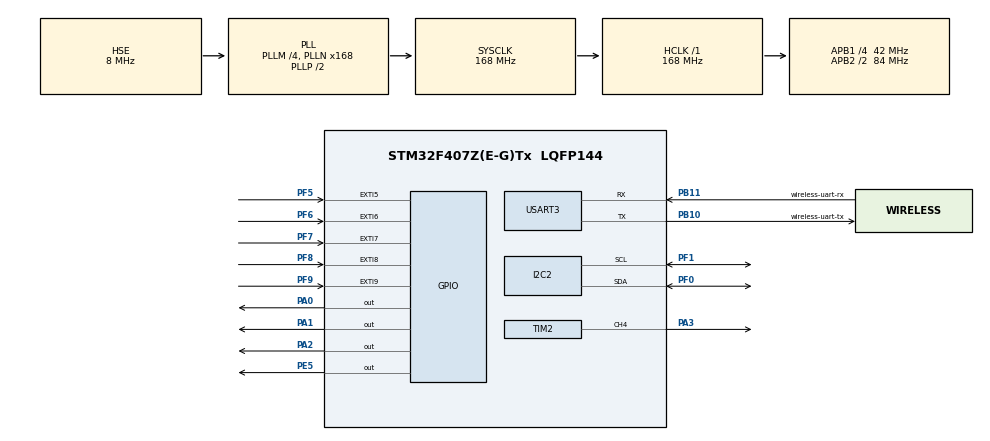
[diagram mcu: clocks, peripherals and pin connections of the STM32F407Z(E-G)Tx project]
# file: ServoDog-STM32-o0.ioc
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I2C2.I2C_Mode=I2C_Fast
Mcu.Family=STM32F4
Mcu.Name=STM32F407Z(E-G)Tx
Mcu.Package=LQFP144
NVIC.EXTI9_5_IRQn=true\:5\:0\:true\:false\:true\:true\:true\:true
NVIC.PriorityGroup=NVIC_PRIORITYGROUP_4
PA0-WKUP.Signal=GPIO_Output
PA1.Signal=GPIO_Output
PA13.Mode=Serial_Wire
PA13.Signal=SYS_JTMS-SWDIO
PA14.Mode=Serial_Wire
PA14.Signal=SYS_JTCK-SWCLK
PA2.Signal=GPIO_Output
PA3.Signal=S_TIM2_CH4
PB10.GPIO_Label=wireless-uart-tx
PB10.Mode=Asynchronous
PB10.Signal=USART3_TX
PB11.GPIO_Label=wireless-uart-rx
PB11.Mode=Asynchronous
PB11.Signal=USART3_RX
PE5.Signal=GPIO_Output
PF0.GPIO_Pu=GPIO_PULLUP
PF0.Mode=I2C
PF0.Signal=I2C2_SDA
PF1.GPIO_Pu=GPIO_PULLUP
PF1.Mode=I2C
PF1.Signal=I2C2_SCL
PF5.GPIO_ModeDefaultEXTI=GPIO_MODE_IT_FALLING
PF5.GPIO_PuPd=GPIO_PULLUP
PF5.Signal=GPXTI5
PF6.GPIO_ModeDefaultEXTI=GPIO_MODE_IT_FALLING
PF6.GPIO_PuPd=GPIO_PULLUP
PF6.Signal=GPXTI6
PF7.GPIO_ModeDefaultEXTI=GPIO_MODE_IT_FALLING
PF7.GPIO_PuPd=GPIO_PULLUP
PF7.Signal=GPXTI7
PF8.GPIO_ModeDefaultEXTI=GPIO_MODE_IT_FALLING
PF8.GPIO_PuPd=GPIO_PULLUP
PF8.Signal=GPXTI8
PF9.GPIO_ModeDefaultEXTI=GPIO_MODE_IT_FALLING
PF9.GPIO_PuPd=GPIO_PULLUP
PF9.Signal=GPXTI9
PH0-OSC_IN.Mode=HSE-External-Oscillator
PH0-OSC_IN.Signal=RCC_OSC_IN
PH1-OSC_OUT.Mode=HSE-External-Oscillator
PH1-OSC_OUT.Signal=RCC_OSC_OUT
ProjectManager.HeapSize=0x1000
ProjectManager.StackSize=0x1000
ProjectManager.TargetToolchain=CMake
RCC.48MHZClocksFreq_Value=84000000
RCC.AHBFreq_Value=168000000
RCC.APB1CLKDivider=RCC_HCLK_DIV4
RCC.APB1Freq_Value=42000000
RCC.APB1TimFreq_Value=84000000
RCC.APB2CLKDivider=RCC_HCLK_DIV2
RCC.APB2Freq_Value=84000000
RCC.APB2TimFreq_Value=168000000
RCC.CortexFreq_Value=168000000
RCC.HCLKFreq_Value=168000000
RCC.HSE_VALUE=8000000
RCC.HSI_VALUE=16000000
RCC.LSE_VALUE=32768
RCC.PLLM=4
RCC.PLLN=168
RCC.PLLSourceVirtual=RCC_PLLSOURCE_HSE
RCC.SYSCLKFreq_VALUE=168000000
RCC.SYSCLKSource=RCC_SYSCLKSOURCE_PLLCLK
RCC.VCOOutputFreq_Value=336000000
SH.S_TIM2_CH4.0=TIM2_CH4,PWM Generation4 CH4
TIM2.Channel-PWM\ Generation4\ CH4=TIM_CHANNEL_4
TIM2.Prescaler=16800
USART3.VirtualMode=VM_ASYNC
VP_TIM2_VS_ClockSourceINT.Mode=Internal
board=custom

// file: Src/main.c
/* USER CODE BEGIN Header */
/**
  ******************************************************************************
  * @file           : main.c
  * @brief          : Main program body
  ******************************************************************************
  * @attention
  *
  * Copyright (c) 2025 STMicroelectronics.
  * All rights reserved.
  *
  * This software is licensed under terms that can be found in the LICENSE file
  * in the root directory of this software component.
  * If no LICENSE file comes with this software, it is provided AS-IS.
  *
  ******************************************************************************
  */
/* USER CODE END Header */
#include "main.h"

I2C_HandleTypeDef hi2c2;

TIM_HandleTypeDef htim2;

UART_HandleTypeDef huart3;

/* USER CODE BEGIN PV */
/* Private variables ---------------------------------------------------------*/

/* USER CODE END PV */

void SystemClock_Config(void);
static void MX_GPIO_Init(void);
static void MX_I2C2_Init(void);
static void MX_TIM2_Init(void);
static void MX_USART3_UART_Init(void);
/* USER CODE BEGIN PFP */
/* Private function prototypes -----------------------------------------------*/

/* USER CODE END PFP */

/* USER CODE BEGIN 0 */

#include "key.h"
#include "quadruped.h"
#include "elog.h"
#include "stdio.h"

#define TAG "Main"

void elog_init_default()
{
  elog_init();
  elog_set_fmt(ELOG_LVL_ASSERT,   ELOG_FMT_ALL);
  elog_set_fmt(ELOG_LVL_ERROR,    ELOG_FMT_FUNC|ELOG_FMT_LVL|ELOG_FMT_TAG|ELOG_FMT_TIME);
  elog_set_fmt(ELOG_LVL_WARN,     ELOG_FMT_FUNC|ELOG_FMT_LVL|ELOG_FMT_TAG|ELOG_FMT_TIME);
  elog_set_fmt(ELOG_LVL_INFO,     ELOG_FMT_FUNC|ELOG_FMT_LVL|ELOG_FMT_TAG|ELOG_FMT_TIME);
  elog_set_fmt(ELOG_LVL_DEBUG,    ELOG_FMT_FUNC|ELOG_FMT_LVL|ELOG_FMT_TAG|ELOG_FMT_TIME);
  elog_set_fmt(ELOG_LVL_VERBOSE,  ELOG_FMT_FUNC|ELOG_FMT_LVL|ELOG_FMT_TAG|ELOG_FMT_TIME);
  elog_set_filter_lvl(ELOG_LVL_ASSERT);
  elog_start();
}

/* USER CODE END 0 */

int main(void)
{

  /* MCU Configuration--------------------------------------------------------*/

  /* Reset of all peripherals, Initializes the Flash interface and the Systick. */
  HAL_Init();

  /* Configure the system clock */
  SystemClock_Config();

  /* Initialize all configured peripherals */
  MX_GPIO_Init();
  MX_I2C2_Init();
  MX_TIM2_Init();
  MX_USART3_UART_Init();
  /* USER CODE BEGIN 2 */
  printf("MX Init Success\r\n");
  elog_init_default();
  elog_set_filter_lvl(ELOG_LVL_INFO);
  // elog_set_filter_lvl(ELOG_LVL_DEBUG);
  // elog_set_filter_lvl(ELOG_LVL_VERBOSE);

//TODO:MAIN
  key_init();
  quad_init();
  quad_sip_init(30.0f, 0.5f, cc_stand0, FCB_MODE_TICK, 150, 2);
  quad_tort_init(30.0f, 30.0f, 0.5f, (quad_coord){0, 110}, FCB_MODE_TICK, 150, 1);
  /* USER CODE END 2 */

  /* Infinite loop */
  /* USER CODE BEGIN WHILE */
  while (1)
  {
    key_value_t key1 = key_read_blocking();
    key_value_t key2 = key_read_blocking();
    switch(key1)
    {
      case KEY_UP:
        switch(key2)
        {
          case KEY_UP:
            elog_i(TAG, "KEY_UP + KEY_UP");
            quad_tort(10);
            break;
        }
        break;
      case KEY_DOWN:
        break;
      case KEY_LEFT:
        break;
      case KEY_RIGHT:
        break;
      case KEY_CENTER:
        switch(key2)
        {
          case KEY_UP:
            elog_i(TAG, "KEY_CENTER + KEY_UP");
            quad_fixed_stand0();
            break;
          case KEY_DOWN:
            elog_i(TAG, "KEY_CENTER + KEY_DOWN");
            quad_fixed_fall0();
            break;
          case KEY_LEFT:
            elog_i(TAG, "KEY_CENTER + KEY_LEFT");
            quad_sip(10);
            break;
          case KEY_RIGHT:
            elog_i(TAG, "KEY_CENTER + KEY_RIGHT");
            quad_sip3(10);
            break;
          case KEY_CENTER:
            elog_i(TAG, "KEY_CENTER + KEY_CENTER");
            quad_sip2(10,40);
            break;
        }
        break;
      default:
        break;
    }
    /* USER CODE END WHILE */

  }
}

void SystemClock_Config(void)
{
  RCC_OscInitTypeDef RCC_OscInitStruct = {0};
  RCC_ClkInitTypeDef RCC_ClkInitStruct = {0};

  /** Configure the main internal regulator output voltage
  */
  __HAL_RCC_PWR_CLK_ENABLE();
  __HAL_PWR_VOLTAGESCALING_CONFIG(PWR_REGULATOR_VOLTAGE_SCALE1);

  /** Initializes the RCC Oscillators according to the specified parameters
  * in the RCC_OscInitTypeDef structure.
  */
  RCC_OscInitStruct.OscillatorType = RCC_OSCILLATORTYPE_HSE;
  RCC_OscInitStruct.HSEState = RCC_HSE_ON;
  RCC_OscInitStruct.PLL.PLLState = RCC_PLL_ON;
  RCC_OscInitStruct.PLL.PLLSource = RCC_PLLSOURCE_HSE;
  RCC_OscInitStruct.PLL.PLLM = 4;
  RCC_OscInitStruct.PLL.PLLN = 168;
  RCC_OscInitStruct.PLL.PLLP = RCC_PLLP_DIV2;
  RCC_OscInitStruct.PLL.PLLQ = 4;
  if (HAL_RCC_OscConfig(&RCC_OscInitStruct) != HAL_OK)
  {
    Error_Handler();
  }

  /** Initializes the CPU, AHB and APB buses clocks
  */
  RCC_ClkInitStruct.ClockType = RCC_CLOCKTYPE_HCLK|RCC_CLOCKTYPE_SYSCLK
                              |RCC_CLOCKTYPE_PCLK1|RCC_CLOCKTYPE_PCLK2;
  RCC_ClkInitStruct.SYSCLKSource = RCC_SYSCLKSOURCE_PLLCLK;
  RCC_ClkInitStruct.AHBCLKDivider = RCC_SYSCLK_DIV1;
  RCC_ClkInitStruct.APB1CLKDivider = RCC_HCLK_DIV4;
  RCC_ClkInitStruct.APB2CLKDivider = RCC_HCLK_DIV2;

  if (HAL_RCC_ClockConfig(&RCC_ClkInitStruct, FLASH_LATENCY_5) != HAL_OK)
  {
    Error_Handler();
  }
}

static void MX_I2C2_Init(void)
{

  hi2c2.Instance = I2C2;
  hi2c2.Init.ClockSpeed = 400000;
  hi2c2.Init.DutyCycle = I2C_DUTYCYCLE_2;
  hi2c2.Init.OwnAddress1 = 0;
  hi2c2.Init.AddressingMode = I2C_ADDRESSINGMODE_7BIT;
  hi2c2.Init.DualAddressMode = I2C_DUALADDRESS_DISABLE;
  hi2c2.Init.OwnAddress2 = 0;
  hi2c2.Init.GeneralCallMode = I2C_GENERALCALL_DISABLE;
  hi2c2.Init.NoStretchMode = I2C_NOSTRETCH_DISABLE;
  if (HAL_I2C_Init(&hi2c2) != HAL_OK)
  {
    Error_Handler();
  }

}

static void MX_TIM2_Init(void)
{

  TIM_ClockConfigTypeDef sClockSourceConfig = {0};
  TIM_MasterConfigTypeDef sMasterConfig = {0};
  TIM_OC_InitTypeDef sConfigOC = {0};

  htim2.Instance = TIM2;
  htim2.Init.Prescaler = 16800;
  htim2.Init.CounterMode = TIM_COUNTERMODE_UP;
  htim2.Init.Period = 4294967295;
  htim2.Init.ClockDivision = TIM_CLOCKDIVISION_DIV1;
  htim2.Init.AutoReloadPreload = TIM_AUTORELOAD_PRELOAD_DISABLE;
  if (HAL_TIM_Base_Init(&htim2) != HAL_OK)
  {
    Error_Handler();
  }
  sClockSourceConfig.ClockSource = TIM_CLOCKSOURCE_INTERNAL;
  if (HAL_TIM_ConfigClockSource(&htim2, &sClockSourceConfig) != HAL_OK)
  {
    Error_Handler();
  }
  if (HAL_TIM_PWM_Init(&htim2) != HAL_OK)
  {
    Error_Handler();
  }
  sMasterConfig.MasterOutputTrigger = TIM_TRGO_RESET;
  sMasterConfig.MasterSlaveMode = TIM_MASTERSLAVEMODE_DISABLE;
  if (HAL_TIMEx_MasterConfigSynchronization(&htim2, &sMasterConfig) != HAL_OK)
  {
    Error_Handler();
  }
  sConfigOC.OCMode = TIM_OCMODE_PWM1;
  sConfigOC.Pulse = 0;
  sConfigOC.OCPolarity = TIM_OCPOLARITY_HIGH;
  sConfigOC.OCFastMode = TIM_OCFAST_DISABLE;
  if (HAL_TIM_PWM_ConfigChannel(&htim2, &sConfigOC, TIM_CHANNEL_4) != HAL_OK)
  {
    Error_Handler();
  }
  HAL_TIM_MspPostInit(&htim2);

}

static void MX_USART3_UART_Init(void)
{

  huart3.Instance = USART3;
  huart3.Init.BaudRate = 115200;
  huart3.Init.WordLength = UART_WORDLENGTH_8B;
  huart3.Init.StopBits = UART_STOPBITS_1;
  huart3.Init.Parity = UART_PARITY_NONE;
  huart3.Init.Mode = UART_MODE_TX_RX;
  huart3.Init.HwFlowCtl = UART_HWCONTROL_NONE;
  huart3.Init.OverSampling = UART_OVERSAMPLING_16;
  if (HAL_UART_Init(&huart3) != HAL_OK)
  {
    Error_Handler();
  }

}

static void MX_GPIO_Init(void)
{
  GPIO_InitTypeDef GPIO_InitStruct = {0};

  /* GPIO Ports Clock Enable */
  __HAL_RCC_GPIOE_CLK_ENABLE();
  __HAL_RCC_GPIOF_CLK_ENABLE();
  __HAL_RCC_GPIOH_CLK_ENABLE();
  __HAL_RCC_GPIOA_CLK_ENABLE();
  __HAL_RCC_GPIOB_CLK_ENABLE();

  /*Configure GPIO pin Output Level */
  HAL_GPIO_WritePin(GPIOE, GPIO_PIN_5, GPIO_PIN_RESET);

  /*Configure GPIO pin Output Level */
  HAL_GPIO_WritePin(GPIOA, GPIO_PIN_0|GPIO_PIN_1|GPIO_PIN_2, GPIO_PIN_RESET);

  /*Configure GPIO pin : PE5 */
  GPIO_InitStruct.Pin = GPIO_PIN_5;
  GPIO_InitStruct.Mode = GPIO_MODE_OUTPUT_PP;
  GPIO_InitStruct.Pull = GPIO_NOPULL;
  GPIO_InitStruct.Speed = GPIO_SPEED_FREQ_LOW;
  HAL_GPIO_Init(GPIOE, &GPIO_InitStruct);

  /*Configure GPIO pins : PF5 PF6 PF7 PF8
                           PF9 */
  GPIO_InitStruct.Pin = GPIO_PIN_5|GPIO_PIN_6|GPIO_PIN_7|GPIO_PIN_8
                          |GPIO_PIN_9;
  GPIO_InitStruct.Mode = GPIO_MODE_IT_FALLING;
  GPIO_InitStruct.Pull = GPIO_PULLUP;
  HAL_GPIO_Init(GPIOF, &GPIO_InitStruct);

  /*Configure GPIO pins : PA0 PA1 PA2 */
  GPIO_InitStruct.Pin = GPIO_PIN_0|GPIO_PIN_1|GPIO_PIN_2;
  GPIO_InitStruct.Mode = GPIO_MODE_OUTPUT_PP;
  GPIO_InitStruct.Pull = GPIO_NOPULL;
  GPIO_InitStruct.Speed = GPIO_SPEED_FREQ_LOW;
  HAL_GPIO_Init(GPIOA, &GPIO_InitStruct);

  /* EXTI interrupt init*/
  HAL_NVIC_SetPriority(EXTI9_5_IRQn, 5, 0);
  HAL_NVIC_EnableIRQ(EXTI9_5_IRQn);

}

void Error_Handler(void)
{
  while(1)
  {
  }
}
